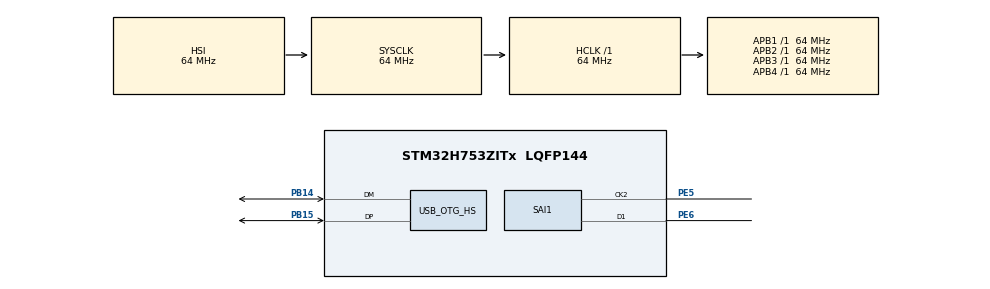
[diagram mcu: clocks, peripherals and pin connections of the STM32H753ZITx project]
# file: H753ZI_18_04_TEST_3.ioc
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CORTEX_M7.CPU_DCache=Disabled
CORTEX_M7.CPU_ICache=Disabled
CORTEX_M7.MPU_Control=__NULL
CORTEX_M7.default_mode_Activation=1
Dma.Request0=SAI1_A
Dma.SAI1_A.0.Direction=DMA_PERIPH_TO_MEMORY
Dma.SAI1_A.0.EventEnable=DISABLE
Dma.SAI1_A.0.FIFOMode=DMA_FIFOMODE_DISABLE
Dma.SAI1_A.0.Instance=DMA1_Stream0
Dma.SAI1_A.0.MemDataAlignment=DMA_MDATAALIGN_HALFWORD
Dma.SAI1_A.0.MemInc=DMA_MINC_ENABLE
Dma.SAI1_A.0.Mode=DMA_CIRCULAR
Dma.SAI1_A.0.PeriphDataAlignment=DMA_PDATAALIGN_HALFWORD
Dma.SAI1_A.0.PeriphInc=DMA_PINC_DISABLE
Dma.SAI1_A.0.Polarity=HAL_DMAMUX_REQ_GEN_RISING
Dma.SAI1_A.0.Priority=DMA_PRIORITY_LOW
Dma.SAI1_A.0.RequestNumber=1
Dma.SAI1_A.0.SignalID=NONE
Dma.SAI1_A.0.SyncEnable=DISABLE
Dma.SAI1_A.0.SyncPolarity=HAL_DMAMUX_SYNC_NO_EVENT
Dma.SAI1_A.0.SyncRequestNumber=1
Dma.SAI1_A.0.SyncSignalID=NONE
Mcu.Family=STM32H7
Mcu.Name=STM32H753ZITx
Mcu.Package=LQFP144
NUCLEO-H753ZI.BUTTON=1
NUCLEO-H753ZI.LD1=true
NUCLEO-H753ZI.LD2=true
NUCLEO-H753ZI.VCP=true
NVIC.DMA1_Stream0_IRQn=true\:0\:0\:false\:false\:true\:false\:true\:true
NVIC.EXTI15_10_IRQn=true\:0\:0\:false\:false\:true\:false\:true\:true
NVIC.OTG_HS_IRQn=true\:0\:0\:false\:false\:true\:false\:true\:true
NVIC.PriorityGroup=NVIC_PRIORITYGROUP_4
PB14.Mode=Device_Only_FS
PB14.Signal=USB_OTG_HS_DM
PB15.Mode=Device_Only_FS
PB15.Signal=USB_OTG_HS_DP
PC14-OSC32_IN\ (OSC32_IN).Signal=RCC_OSC32_IN
PC15-OSC32_OUT\ (OSC32_OUT).Signal=RCC_OSC32_OUT
PD8.Signal=USART3_TX
PD9.Signal=USART3_RX
PDM2PCM.CHANNEL1_decimation_factor=PDM_FILTER_DEC_FACTOR_64
PDM2PCM.CHANNEL1_in_ptr_channels=2
PDM2PCM.CHANNEL1_out_ptr_channels=2
PE5.Mode=PDM_Master_Mode_CK2
PE5.Signal=SAI1_CK2
PE6.Mode=PDM_Master_Mode_CK2
PE6.Signal=SAI1_D1
PH0-OSC_IN\ (PH0).Mode=HSE-External-Clock-Source
PH0-OSC_IN\ (PH0).Signal=RCC_OSC_IN
PH1-OSC_OUT\ (PH1).Signal=RCC_OSC_OUT
ProjectManager.HeapSize=0x200
ProjectManager.StackSize=0x400
ProjectManager.TargetToolchain=STM32CubeIDE
RCC.ADCFreq_Value=14125000
RCC.APB1Freq_Value=64000000
RCC.APB2Freq_Value=64000000
RCC.APB3Freq_Value=64000000
RCC.APB4Freq_Value=64000000
RCC.CortexFreq_Value=64000000
RCC.DIVM1=8
RCC.DIVM2=4
RCC.DIVM3=4
RCC.DIVN1=192
RCC.DIVN2=14
RCC.DIVN3=12
RCC.HCLKFreq_Value=64000000
RCC.HSE_VALUE=8000000
RCC.PLL2FRACN=1024
RCC.PLL3FRACN=0
RCC.PLLFRACN=0
RCC.PLLSourceVirtual=RCC_PLLSOURCE_HSE
RCC.PWR_Regulator_Voltage_Scale=PWR_REGULATOR_VOLTAGE_SCALE2
RCC.SYSCLKFreq_VALUE=64000000
RCC.USBCLockSelection=RCC_USBCLKSOURCE_HSI48
RCC.USBFreq_Value=48000000
SAI1.Activation=ENABLE
SAI1.ActiveFrameLength-PDM_Master_Mode_CK2=1
SAI1.ClockStrobing-PDM_Master_Mode_CK2=SAI_CLOCKSTROBING_RISINGEDGE
SAI1.DataSize-PDM_Master_Mode_CK2=SAI_DATASIZE_16
SAI1.ErrorAudioFreq-PDM_Master_Mode_CK2=95.31 %
SAI1.FSPolarity-PDM_Master_Mode_CK2=SAI_FS_ACTIVE_LOW
SAI1.FrameLength-PDM_Master_Mode_CK2=16
SAI1.Instance-PDM_Master_Mode_CK2=SAI$Index_Block_A
SAI1.MClockEnable-PDM_Master_Mode_CK2=SAI_MASTERCLOCK_DISABLE
SAI1.RealAudioFreq-PDM_Master_Mode_CK2=375.0 KHz
SAI1.SlotActive-PDM_Master_Mode_CK2=0x00000001
SAI1.SlotNumber-PDM_Master_Mode_CK2=1
SAI1.SlotSize-PDM_Master_Mode_CK2=SAI_SLOTSIZE_DATASIZE
SAI1.VirtualMode-PDM_Master_Mode_CK2=VM_MASTER
SAI1.VirtualProtocol-PDM_Master_Mode_CK2=VM_PDM_PROTOCOL
SAI1.VirtualSlotActive-PDM_Master_Mode_CK2=SAI_SLOT_USERSETTING
SAI1.VirtualSlotActive0-PDM_Master_Mode_CK2=true
SAI1.VirtualSlotActive1-PDM_Master_Mode_CK2=true
USB_DEVICE.CLASS_NAME_HS=CDC
USB_DEVICE.VirtualMode-CDC_HS=Cdc
USB_DEVICE.VirtualModeHS=Cdc_HS
USB_OTG_HS.VirtualMode-Device_Only_FS=Device_Only_FS
VP_CRC_VS_CRC.Mode=CRC_Activate
VP_MEMORYMAP_VS_MEMORYMAP.Mode=CurAppReg
VP_NUCLEO-H753ZI_VS_BSP_COMMON.Mode=COMMON
VP_PDM2PCM_VS_PDM2PCM.Mode=PDM2PCM_Channel
VP_USB_DEVICE_VS_USB_DEVICE_CDC_HS.Mode=CDC_HS
board=NUCLEO-H753ZI

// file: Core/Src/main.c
/* USER CODE BEGIN Header */
	/**
	  ******************************************************************************
	  * @file           : main.c
	  * @brief          : Main program body
	  ******************************************************************************
	  * @attention
	  *
	  * Copyright (c) 2026 STMicroelectronics.
	  * All rights reserved.
	  *
	  * This software is licensed under terms that can be found in the LICENSE file
	  * in the root directory of this software component.
	  * If no LICENSE file comes with this software, it is provided AS-IS.
	  *
	  ******************************************************************************
	  */
/* USER CODE END Header */
#include "main.h"
#include "pdm2pcm.h"
#include "usb_device.h"

/* USER CODE BEGIN Includes */
	#include <string.h>
	#include "usbd_cdc_if.h"
/* USER CODE END Includes */

/* USER CODE BEGIN PD */
	#define OUTPUT_SAMPLES 16
	#define PDM_DMA_BYTES 512
	//#define USB_CHANNELS 4
/* USER CODE END PD */

COM_InitTypeDef BspCOMInit;

CRC_HandleTypeDef hcrc;

SAI_HandleTypeDef hsai_BlockA1;
DMA_HandleTypeDef hdma_sai1_a;

/* USER CODE BEGIN PV */

	volatile uint8_t sai_pdm_half_ready = 0;
	volatile uint8_t sai_pdm_full_ready = 0;
	extern uint8_t CDC_Ready;
	volatile uint32_t usb_ok = 0, usb_busy = 0, usb_fail = 0;

	//uint8_t pdm_buffer[256 * 4];   // mics 1,2,3,4 // 1024 bytes
	uint8_t pdm_buffer[256];
	int16_t pcm_buffer[32];
	// one micuint8_t usb_tx_buff[2 + OUTPUT_SAMPLES * 2];
	uint8_t usb_tx_buff[2 + OUTPUT_SAMPLES * 2 * 2]; // give an explenation

/* USER CODE END PV */

void SystemClock_Config(void);
static void MX_GPIO_Init(void);
static void MX_DMA_Init(void);
static void MX_SAI1_Init(void);
static void MX_CRC_Init(void);
/* USER CODE BEGIN PFP */
	static void PeriphCommonClock_Config(void);
/* USER CODE END PFP */

/* USER CODE BEGIN 0 */

	static void PeriphCommonClock_Config(void)
	{
		RCC_PeriphCLKInitTypeDef PeriphClkInitStruct = {0};

		PeriphClkInitStruct.PeriphClockSelection = RCC_PERIPHCLK_SAI1;
		PeriphClkInitStruct.Sai1ClockSelection = RCC_SAI1CLKSOURCE_PLL2;

		PeriphClkInitStruct.PLL2.PLL2M = 8;
		PeriphClkInitStruct.PLL2.PLL2N = 192;
		PeriphClkInitStruct.PLL2.PLL2P = 2;
		PeriphClkInitStruct.PLL2.PLL2Q = 2;
		PeriphClkInitStruct.PLL2.PLL2R = 2;
		PeriphClkInitStruct.PLL2.PLL2RGE = RCC_PLL2VCIRANGE_0;
		PeriphClkInitStruct.PLL2.PLL2VCOSEL = RCC_PLL2VCOWIDE;
		PeriphClkInitStruct.PLL2.PLL2FRACN = 0;

		if (HAL_RCCEx_PeriphCLKConfig(&PeriphClkInitStruct) != HAL_OK)
		{
			Error_Handler();
		}
	}

	void USB_Send_PCM_4CH(int16_t *ch1, int16_t *ch2, int16_t *ch3, int16_t *ch4, uint16_t n) //, int16_t *ch3, int16_t *ch4
	{
		uint16_t sync = 0xA55A;
		uint16_t idx = 0;

		//HAL_UART_Transmit(&huart2, (uint8_t *)&sync, 2, HAL_MAX_DELAY);
		memcpy(&usb_tx_buff[idx], &sync, 2);
		idx += 2;

		for (uint16_t i = 0; i < n; i++){
		//HAL_UART_Transmit(&huart2, (uint8_t *)&ch1[i], 2, HAL_MAX_DELAY);
		//HAL_UART_Transmit(&huart2, (uint8_t *)&ch2[i], 2, HAL_MAX_DELAY);
			memcpy(&usb_tx_buff[idx], &ch1[i], 2); // number of bytes = 2, due to the output sample being 16 bit = 2 bytes
			idx += 2;
			memcpy(&usb_tx_buff[idx], &ch2[i], 2);
			idx += 2;
			memcpy(&usb_tx_buff[idx], &ch3[i], 2);
			idx += 2;
			memcpy(&usb_tx_buff[idx], &ch4[i], 2);
			idx += 2;

		}
		uint8_t r = CDC_Transmit_HS(usb_tx_buff, idx);
		if (r == USBD_OK) {
			usb_ok++;
		} else if (r == USBD_BUSY) {
			usb_busy++;
		} else {
			usb_fail++;
		}
	}

	void USB_Send_PCM_2CH(int16_t *ch1, int16_t *ch2, uint16_t n) //, int16_t *ch3, int16_t *ch4
		{
			uint16_t sync = 0xA55A;
			uint16_t idx = 0;

			//HAL_UART_Transmit(&huart2, (uint8_t *)&sync, 2, HAL_MAX_DELAY);
			memcpy(&usb_tx_buff[idx], &sync, 2);
			idx += 2;

			for (uint16_t i = 0; i < n; i++){
			//HAL_UART_Transmit(&huart2, (uint8_t *)&ch1[i], 2, HAL_MAX_DELAY);
			//HAL_UART_Transmit(&huart2, (uint8_t *)&ch2[i], 2, HAL_MAX_DELAY);
				memcpy(&usb_tx_buff[idx], &ch1[i], 2); // number of bytes = 2, due to the output sample being 16 bit = 2 bytes
				idx += 2;
				memcpy(&usb_tx_buff[idx], &ch2[i], 2);
				idx += 2;

			}
			uint8_t r = CDC_Transmit_HS(usb_tx_buff, idx);
			if (r == USBD_OK) {
				usb_ok++;
			} else if (r == USBD_BUSY) {
				usb_busy++;
			} else {
				usb_fail++;
			}
		}

	void USB_Send_PCM_1CH(int16_t *ch1, uint16_t n) //, int16_t *ch3, int16_t *ch4
		{
			uint16_t sync = 0xA55A;
			uint16_t idx = 0;

			//HAL_UART_Transmit(&huart2, (uint8_t *)&sync, 2, HAL_MAX_DELAY);
			memcpy(&usb_tx_buff[idx], &sync, 2);
			idx += 2;

			for (uint16_t i = 0; i < n; i++){
			//HAL_UART_Transmit(&huart2, (uint8_t *)&ch1[i], 2, HAL_MAX_DELAY);
			//HAL_UART_Transmit(&huart2, (uint8_t *)&ch2[i], 2, HAL_MAX_DELAY);
				memcpy(&usb_tx_buff[idx], &ch1[i], 2); // number of bytes = 2, due to the output sample being 16 bit = 2 bytes
				idx += 2;

			}
			uint8_t r = CDC_Transmit_HS(usb_tx_buff, idx);
			if (r == USBD_OK) {
				usb_ok++;
			} else if (r == USBD_BUSY) {
				usb_busy++;
			} else {
				usb_fail++;
			}
		}

	void PDM_Deinterleave_4_mics(const uint8_t *src, uint8_t *mic1, uint8_t *mic2,uint8_t *mic3 ,uint8_t *mic4, uint16_t len)
	{
		for (uint16_t i = 0; i < len; i += 4)
		{
			mic1[i/4] = ((uint8_t*)src)[i];
			mic2[i/4] = ((uint8_t*)src)[i + 1];
			mic3[i/4] = ((uint8_t*)src)[i + 2];
			mic4[i/4] = ((uint8_t*)src)[i + 3];
		}
	}

	void PCM_Deinterleave_2_mics(const int16_t *src, int16_t *mic1, int16_t *mic2)
	{
	    for (uint16_t i = 0; i < 16; i++)
	    {
	        mic1[i] = src[2 * i];
	        mic2[i] = src[2 * i + 1];
	    }
	}
	void USB_Send_Raw_PDM(const uint8_t *buf, uint16_t n)
	{
	    uint16_t sync = 0xA55A;
	    uint16_t idx = 0;
	    uint8_t tx[2 + 64];

	    memcpy(&tx[idx], &sync, 2);
	    idx += 2;

	    memcpy(&tx[idx], buf, n);
	    idx += n;

	    if (CDC_Ready) {
	        CDC_Transmit_HS(tx, idx);
	    }
	}

	void USB_Send_PCM_Interleaved_2CH(int16_t *pcm, uint16_t n_per_ch)
	{
	    uint16_t sync = 0xA55A;
	    uint16_t idx = 0;

	    memcpy(&usb_tx_buff[idx], &sync, 2);
	    idx += 2;

	    memcpy(&usb_tx_buff[idx], pcm, n_per_ch * 2 * sizeof(int16_t));
	    idx += n_per_ch * 2 * sizeof(int16_t);

	    uint8_t r = CDC_Transmit_HS(usb_tx_buff, idx);
	    if (r == USBD_OK) {
	        usb_ok++;
	    } else if (r == USBD_BUSY) {
	        usb_busy++;
	    } else {
	        usb_fail++;
	    }
	}
/* USER CODE END 0 */

int main(void)
{

  /* MCU Configuration--------------------------------------------------------*/

  /* Reset of all peripherals, Initializes the Flash interface and the Systick. */
  HAL_Init();

  /* Configure the system clock */
  SystemClock_Config();

  /* USER CODE BEGIN SysInit */
	  PeriphCommonClock_Config();
  /* USER CODE END SysInit */

  /* Initialize all configured peripherals */
  MX_GPIO_Init();
  MX_DMA_Init();
  MX_SAI1_Init();
  MX_USB_DEVICE_Init();
  MX_CRC_Init();
  MX_PDM2PCM_Init();
  /* USER CODE BEGIN 2 */
	  //HAL_SAI_Receive_DMA(&hsai_BlockA1, (uint8_t*)pdm_buffer, 1024); // mic1, mic2, mic3, mic4....
	  if (HAL_SAI_Receive_DMA(&hsai_BlockA1, (uint8_t*)pdm_buffer, 256) != HAL_OK)
	  {
		  Error_Handler();
	  }
  /* USER CODE END 2 */

  /* Initialize leds */
  BSP_LED_Init(LED_GREEN);
  BSP_LED_Init(LED_YELLOW);

  /* Initialize USER push-button, will be used to trigger an interrupt each time it's pressed.*/
  BSP_PB_Init(BUTTON_USER, BUTTON_MODE_EXTI);

  /* Initialize COM1 port (115200, 8 bits (7-bit data + 1 stop bit), no parity */
  BspCOMInit.BaudRate   = 115200;
  BspCOMInit.WordLength = COM_WORDLENGTH_8B;
  BspCOMInit.StopBits   = COM_STOPBITS_1;
  BspCOMInit.Parity     = COM_PARITY_NONE;
  BspCOMInit.HwFlowCtl  = COM_HWCONTROL_NONE;
  if (BSP_COM_Init(COM1, &BspCOMInit) != BSP_ERROR_NONE)
  {
    Error_Handler();
  }

  /* Infinite loop */
  /* USER CODE BEGIN WHILE */
	  while (1)
	  {
		  /*
		  if (sai_pdm_half_ready) {
		      sai_pdm_half_ready = 0;

		      PDM_Filter(&pdm_buffer[0], (int16_t*)&pcm_buffer[0], &PDM_FilterHandler[0]);
		      PDM_Filter(&pdm_buffer[1], (int16_t*)&pcm_buffer[1], &PDM_FilterHandler[1]);

		      if (CDC_Ready) {
		          USB_Send_PCM_Interleaved_2CH(pcm_buffer, 16);
		      }
		  }

		  */

		  if (sai_pdm_full_ready) {
			  sai_pdm_full_ready = 0;
		  		      PDM_Filter(&(((uint8_t*)pdm_buffer)[0]), &(((int16_t*)pcm_buffer)[0]), &PDM_FilterHandler[0]);
		  		      PDM_Filter(&(((uint8_t*)pdm_buffer)[1]), &(((int16_t*)pcm_buffer)[0]), &PDM_FilterHandler[1]);

		  		      if (CDC_Ready) {
		  		          USB_Send_PCM_Interleaved_2CH(pcm_buffer, 16);
		  		      }
		  		  }

		  /*
		  if (sai_pdm_full_ready) {
			  sai_pdm_full_ready = 0;

			  static int16_t pcm_mic1[16];
			  static int16_t pcm_mic2[16];

	          PDM_Filter(pdm_buffer, pcm_buffer, &PDM1_filter_handler);
	          PCM_Deinterleave_2_mics(&pcm_buffer[0], pcm_mic1, pcm_mic2);

	          if (CDC_Ready) {
	        	  USB_Send_PCM_2CH(pcm_mic1, pcm_mic2, OUTPUT_SAMPLES);
	          		          }

		  }
		  */
		  /*
		      if (sai_pdm_full_ready) {
		          sai_pdm_full_ready = 0;

		          static uint8_t pdm_mic1[128];
		          static uint8_t pdm_mic2[128];

		          static int16_t pcm_mic1[16];
		          static int16_t pcm_mic2[16];

		          PDM_Deinterleave_2_mics(&pdm_buffer[0], pdm_mic1, pdm_mic2, 256);

		          PDM_Filter(pdm_mic1, pcm_mic1, &PDM1_filter_handler);
		          PDM_Filter(pdm_mic2, pcm_mic2, &PDM2_filter_handler);

		          if (CDC_Ready) {
		              USB_Send_PCM_2CH(pcm_mic1, pcm_mic2, OUTPUT_SAMPLES);
		          }
		      }
*/

		  /* TEST USB
		  uint16_t sync = 0xA55A;
		      uint8_t tx[2 + 16 * 4 * 2];   // sync + 16 samples * 4 ch * 2 bytes
		      uint16_t idx = 0;

		      int16_t mic1 = 100;
		      int16_t mic2 = 200;
		      int16_t mic3 = 300;
		      int16_t mic4 = 400;

		      memcpy(&tx[idx], &sync, 2);
		      idx += 2;

		      for (uint16_t i = 0; i < 16; i++)
		      {
		          memcpy(&tx[idx], &mic1, 2); idx += 2;
		          memcpy(&tx[idx], &mic2, 2); idx += 2;
		          memcpy(&tx[idx], &mic3, 2); idx += 2;
		          memcpy(&tx[idx], &mic4, 2); idx += 2;
		      }

		      if (CDC_Ready)
		      {
		          uint8_t r = CDC_Transmit_HS(tx, idx);
		          (void)r;
		      }

		      HAL_Delay(100);
*/
/*

		  if (sai_pdm_half_ready){
					sai_pdm_half_ready = 0;

					static  uint8_t pdm_mic1[128];
					static uint8_t pdm_mic2[128];
					static uint8_t pdm_mic3[128];
					static uint8_t pdm_mic4[128];

					static int16_t pcm_mic1[16];
					static int16_t pcm_mic2[16];
					static int16_t pcm_mic3[16];
					static int16_t pcm_mic4[16];

					PDM_Deinterleave_4_mics(&pdm_buffer[0], pdm_mic1,pdm_mic2,pdm_mic3,pdm_mic4, 512); // 512 to make sure that only the half of the buffer is being deinterleaved

					PDM_Filter(pdm_buffer[0], pcm_mic1, &PDM1_filter_handler);
					PDM_Filter(pdm_mic2, pcm_mic2, &PDM2_filter_handler);
					PDM_Filter(pdm_mic3, pcm_mic3, &PDM3_filter_handler);
					PDM_Filter(pdm_mic4, pcm_mic4, &PDM4_filter_handler);

					if (CDC_Ready){
						USB_Send_PCM_4CH(pcm_mic1, pcm_mic2, pcm_mic3, pcm_mic4,16);
						USB_Send_PCM_1CH(pcm_mic1, 16);
					}
			  }
			  if (sai_pdm_full_ready){
					  sai_pdm_full_ready= 0;

					static  uint8_t pdm_mic1[128];
					static uint8_t pdm_mic2[128];
					static uint8_t pdm_mic3[128];
					static uint8_t pdm_mic4[128];

					static int16_t pcm_mic1[16];
					static int16_t pcm_mic2[16];
					static int16_t pcm_mic3[16];
					static int16_t pcm_mic4[16];

					PDM_Deinterleave_4_mics(&pdm_buffer[512], pdm_mic1,pdm_mic2,pdm_mic3,pdm_mic4, 512);

					PDM_Filter(pdm_mic1, pcm_mic1, &PDM1_filter_handler);
					PDM_Filter(pdm_mic2, pcm_mic2, &PDM2_filter_handler);
					PDM_Filter(pdm_mic3, pcm_mic3, &PDM3_filter_handler);
					PDM_Filter(pdm_mic4, pcm_mic4, &PDM4_filter_handler);

					  if (CDC_Ready){
					  USB_Send_PCM_4CH(pcm_mic1, pcm_mic2, pcm_mic3, pcm_mic4, 16);
						USB_Send_PCM_1CH(pcm_mic1, 16);

					  }
				  }
			  */
    /* USER CODE END WHILE */

	  }
}

void SystemClock_Config(void)
{
  RCC_OscInitTypeDef RCC_OscInitStruct = {0};
  RCC_ClkInitTypeDef RCC_ClkInitStruct = {0};

  /** Supply configuration update enable
  */
  HAL_PWREx_ConfigSupply(PWR_LDO_SUPPLY);

  /** Configure the main internal regulator output voltage
  */
  __HAL_PWR_VOLTAGESCALING_CONFIG(PWR_REGULATOR_VOLTAGE_SCALE2);

  while(!__HAL_PWR_GET_FLAG(PWR_FLAG_VOSRDY)) {}

  /** Initializes the RCC Oscillators according to the specified parameters
  * in the RCC_OscInitTypeDef structure.
  */
  RCC_OscInitStruct.OscillatorType = RCC_OSCILLATORTYPE_HSI48|RCC_OSCILLATORTYPE_HSI
                              |RCC_OSCILLATORTYPE_HSE;
  RCC_OscInitStruct.HSEState = RCC_HSE_BYPASS;
  RCC_OscInitStruct.HSIState = RCC_HSI_DIV1;
  RCC_OscInitStruct.HSICalibrationValue = RCC_HSICALIBRATION_DEFAULT;
  RCC_OscInitStruct.HSI48State = RCC_HSI48_ON;
  RCC_OscInitStruct.PLL.PLLState = RCC_PLL_ON;
  RCC_OscInitStruct.PLL.PLLSource = RCC_PLLSOURCE_HSE;
  RCC_OscInitStruct.PLL.PLLM = 8;
  RCC_OscInitStruct.PLL.PLLN = 192;
  RCC_OscInitStruct.PLL.PLLP = 2;
  RCC_OscInitStruct.PLL.PLLQ = 2;
  RCC_OscInitStruct.PLL.PLLR = 2;
  RCC_OscInitStruct.PLL.PLLRGE = RCC_PLL1VCIRANGE_0;
  RCC_OscInitStruct.PLL.PLLVCOSEL = RCC_PLL1VCOWIDE;
  RCC_OscInitStruct.PLL.PLLFRACN = 0;
  if (HAL_RCC_OscConfig(&RCC_OscInitStruct) != HAL_OK)
  {
    Error_Handler();
  }

  /** Initializes the CPU, AHB and APB buses clocks
  */
  RCC_ClkInitStruct.ClockType = RCC_CLOCKTYPE_HCLK|RCC_CLOCKTYPE_SYSCLK
                              |RCC_CLOCKTYPE_PCLK1|RCC_CLOCKTYPE_PCLK2
                              |RCC_CLOCKTYPE_D3PCLK1|RCC_CLOCKTYPE_D1PCLK1;
  RCC_ClkInitStruct.SYSCLKSource = RCC_SYSCLKSOURCE_HSI;
  RCC_ClkInitStruct.SYSCLKDivider = RCC_SYSCLK_DIV1;
  RCC_ClkInitStruct.AHBCLKDivider = RCC_HCLK_DIV1;
  RCC_ClkInitStruct.APB3CLKDivider = RCC_APB3_DIV1;
  RCC_ClkInitStruct.APB1CLKDivider = RCC_APB1_DIV1;
  RCC_ClkInitStruct.APB2CLKDivider = RCC_APB2_DIV1;
  RCC_ClkInitStruct.APB4CLKDivider = RCC_APB4_DIV1;

  if (HAL_RCC_ClockConfig(&RCC_ClkInitStruct, FLASH_LATENCY_1) != HAL_OK)
  {
    Error_Handler();
  }
}

static void MX_CRC_Init(void)
{

  hcrc.Instance = CRC;
  hcrc.Init.DefaultPolynomialUse = DEFAULT_POLYNOMIAL_ENABLE;
  hcrc.Init.DefaultInitValueUse = DEFAULT_INIT_VALUE_ENABLE;
  hcrc.Init.InputDataInversionMode = CRC_INPUTDATA_INVERSION_NONE;
  hcrc.Init.OutputDataInversionMode = CRC_OUTPUTDATA_INVERSION_DISABLE;
  hcrc.InputDataFormat = CRC_INPUTDATA_FORMAT_BYTES;
  if (HAL_CRC_Init(&hcrc) != HAL_OK)
  {
    Error_Handler();
  }
  __HAL_CRC_DR_RESET(&hcrc);

}

static void MX_SAI1_Init(void)
{

  hsai_BlockA1.Instance = SAI1_Block_A;
  hsai_BlockA1.Init.Protocol = SAI_FREE_PROTOCOL;
  hsai_BlockA1.Init.AudioMode = SAI_MODEMASTER_RX;
  hsai_BlockA1.Init.DataSize = SAI_DATASIZE_16;
  hsai_BlockA1.Init.FirstBit = SAI_FIRSTBIT_MSB;
  hsai_BlockA1.Init.ClockStrobing = SAI_CLOCKSTROBING_RISINGEDGE;
  hsai_BlockA1.Init.Synchro = SAI_ASYNCHRONOUS;
  hsai_BlockA1.Init.OutputDrive = SAI_OUTPUTDRIVE_DISABLE;
  hsai_BlockA1.Init.NoDivider = SAI_MCK_OVERSAMPLING_DISABLE;
  hsai_BlockA1.Init.MckOverSampling = SAI_MCK_OVERSAMPLING_DISABLE;
  hsai_BlockA1.Init.FIFOThreshold = SAI_FIFOTHRESHOLD_EMPTY;
  hsai_BlockA1.Init.AudioFrequency = SAI_AUDIO_FREQUENCY_192K;
  hsai_BlockA1.Init.MonoStereoMode = SAI_STEREOMODE;
  hsai_BlockA1.Init.CompandingMode = SAI_NOCOMPANDING;
  hsai_BlockA1.Init.PdmInit.Activation = ENABLE;
  hsai_BlockA1.Init.PdmInit.MicPairsNbr = 1;
  hsai_BlockA1.Init.PdmInit.ClockEnable = SAI_PDM_CLOCK2_ENABLE;
  hsai_BlockA1.FrameInit.FrameLength = 16;
  hsai_BlockA1.FrameInit.ActiveFrameLength = 1;
  hsai_BlockA1.FrameInit.FSDefinition = SAI_FS_STARTFRAME;
  hsai_BlockA1.FrameInit.FSPolarity = SAI_FS_ACTIVE_LOW;
  hsai_BlockA1.FrameInit.FSOffset = SAI_FS_FIRSTBIT;
  hsai_BlockA1.SlotInit.FirstBitOffset = 0;
  hsai_BlockA1.SlotInit.SlotSize = SAI_SLOTSIZE_DATASIZE;
  hsai_BlockA1.SlotInit.SlotNumber = 1;
  hsai_BlockA1.SlotInit.SlotActive = 0x00000001;
  if (HAL_SAI_Init(&hsai_BlockA1) != HAL_OK)
  {
    Error_Handler();
  }

}

static void MX_DMA_Init(void)
{

  /* DMA controller clock enable */
  __HAL_RCC_DMA1_CLK_ENABLE();

  /* DMA interrupt init */
  /* DMA1_Stream0_IRQn interrupt configuration */
  HAL_NVIC_SetPriority(DMA1_Stream0_IRQn, 0, 0);
  HAL_NVIC_EnableIRQ(DMA1_Stream0_IRQn);

}

static void MX_GPIO_Init(void)
{

  /* GPIO Ports Clock Enable */
  __HAL_RCC_GPIOE_CLK_ENABLE();
  __HAL_RCC_GPIOC_CLK_ENABLE();
  __HAL_RCC_GPIOH_CLK_ENABLE();
  __HAL_RCC_GPIOB_CLK_ENABLE();

}

/* USER CODE BEGIN 4 */
volatile uint32_t half_cnt = 0;
volatile uint32_t full_cnt = 0;

void HAL_SAI_RxHalfCpltCallback(SAI_HandleTypeDef *hsai){
    if (hsai == &hsai_BlockA1){
        sai_pdm_half_ready = 1;
        half_cnt++;
    }
}

void HAL_SAI_RxCpltCallback(SAI_HandleTypeDef *hsai){
    if (hsai == &hsai_BlockA1){
        sai_pdm_full_ready = 1;
        full_cnt++;
    }
}

/* USER CODE END 4 */

void Error_Handler(void)
{
	  __disable_irq();
	  while (1)
	  {
	  }
}
